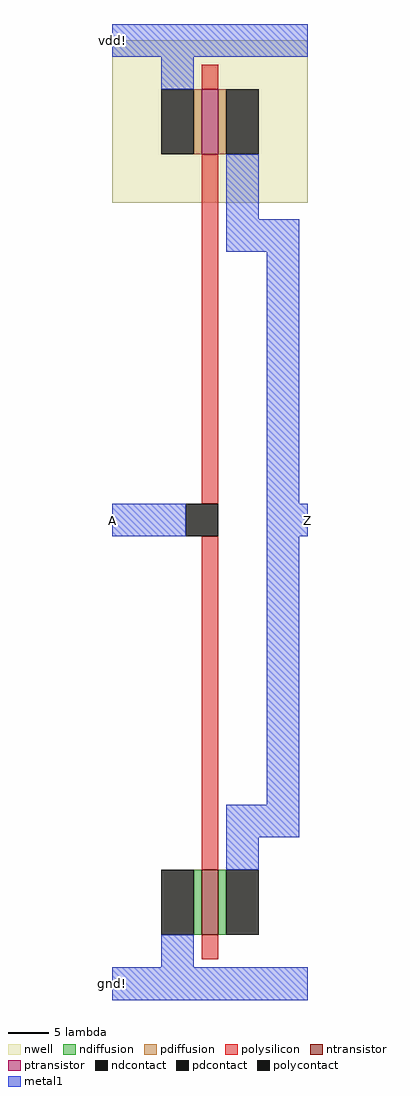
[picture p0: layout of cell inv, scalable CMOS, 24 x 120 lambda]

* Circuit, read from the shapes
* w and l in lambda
.subckt inv A Z gnd! vdd!
M1 Z A gnd! VSUBS nfet w=8 l=2
M2 Z A vdd! n1 pfet w=8 l=2
.ends

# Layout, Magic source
magic
tech scmos
<< nwell >>
rect -6 98 18 118
<< ntransistor >>
rect 5 8 7 16
<< ptransistor >>
rect 5 104 7 112
<< ndiffusion >>
rect 4 8 5 16
rect 7 8 8 16
<< pdiffusion >>
rect 4 104 5 112
rect 7 104 8 112
<< ndcontact >>
rect 0 8 4 16
rect 8 8 12 16
<< pdcontact >>
rect 0 104 4 112
rect 8 104 12 112
<< polysilicon >>
rect 5 112 7 115
rect 5 61 7 104
rect 5 16 7 57
rect 5 5 7 8
<< polycontact >>
rect 3 57 7 61
<< metal1 >>
rect -6 116 18 120
rect 0 112 4 116
rect 8 96 12 104
rect 8 92 17 96
rect 13 61 17 92
rect -6 57 3 61
rect 13 57 18 61
rect 13 24 17 57
rect 8 20 17 24
rect 8 16 12 20
rect 0 4 4 8
rect -6 0 18 4
<< labels >>
rlabel metal1 -6 0 -6 4 2 gnd!
rlabel metal1 -6 116 -6 120 4 vdd!
rlabel metal1 -6 57 -6 61 3 A
rlabel metal1 18 57 18 61 7 Z
<< end >>
